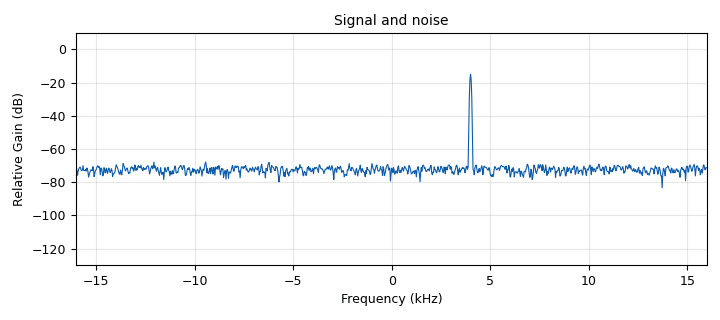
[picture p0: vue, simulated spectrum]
options:
  parameters:
    generate_options: qt_gui
    id: fg_tp05_001
    output_language: python
    title: FG-TP05-001
  states: {}

blocks:
- name: niveau_bruit
  id: variable_qtgui_range
  parameters:
    gui_hint: 0,0,1,2
    label: '"Noise Level"'
    start: '0.001'
    step: '0.001'
    stop: '0.5'
    value: '0.02'
  states: {}
- name: samp_rate
  id: variable
  parameters:
    value: '32000'
  states: {}
- name: bruit
  id: analog_noise_source_x
  parameters:
    amp: niveau_bruit
    noise_type: analog.GR_GAUSSIAN
    seed: '0'
    type: complex
  states: {}
- name: chiffre
  id: qtgui_number_sink
  parameters:
    avg: '0.02'
    graph_type: qtgui.NUM_GRAPH_NONE
    gui_hint: 2,0,1,2
    label1: '"dB"'
    max: '0'
    min: '-80'
    name: '"RMS Level (dB)"'
    type: float
  states: {}
- name: debit
  id: blocks_throttle2
  parameters:
    samples_per_second: samp_rate
    type: complex
  states: {}
- name: efficace
  id: blocks_rms_xx
  parameters:
    alpha: '0.0001'
    type: complex
  states: {}
- name: en_db
  id: blocks_nlog10_ff
  parameters:
    k: '0'
    n: '20'
  states: {}
- name: raie
  id: analog_sig_source_x
  parameters:
    amp: '0.5'
    freq: '4000'
    offset: '0'
    phase: '0'
    samp_rate: samp_rate
    type: complex
    waveform: analog.GR_COS_WAVE
  states: {}
- name: somme
  id: blocks_add_xx
  parameters:
    type: complex
  states: {}
- name: vue
  id: qtgui_freq_sink_x
  parameters:
    average: '0.2'
    bw: samp_rate
    fc: '0'
    fftsize: '1024'
    grid: 'True'
    gui_hint: 1,0,1,2
    legend: 'False'
    name: '"Signal and noise"'
    type: complex
    ymin: '-130'
  states: {}

connections:
- [bruit, '0', somme, '1']
- [debit, '0', efficace, '0']
- [debit, '0', vue, '0']
- [efficace, '0', en_db, '0']
- [en_db, '0', chiffre, '0']
- [raie, '0', somme, '0']
- [somme, '0', debit, '0']

metadata:
  file_format: 1
  grc_version: 3.10.12.0
